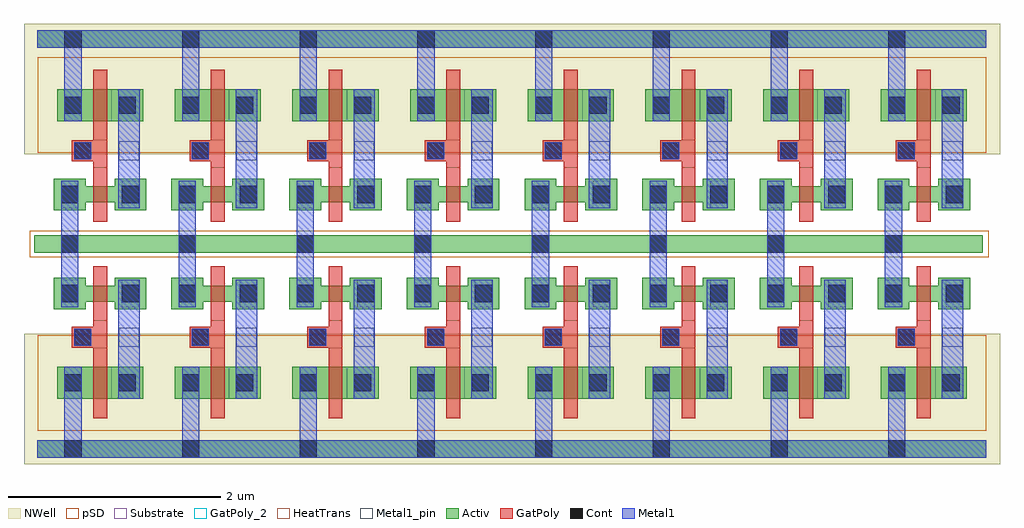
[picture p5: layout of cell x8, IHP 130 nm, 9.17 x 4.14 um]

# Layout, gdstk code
import gdstk
lib = gdstk.Library(unit=1e-6, precision=5e-09)
def R(c, l, rs):  # rectangles x0, y0, x1, y1
    for r in rs: c.add(gdstk.rectangle(r[:2], r[2:], *l))
Activ = (1, 0)
GatPoly = (5, 0)
GatPoly_2 = (5, 2)
Cont = (6, 0)
Metal1 = (8, 0)
Metal1_pin = (8, 2)
pSD = (14, 0)
NWell = (31, 0)
Substrate = (40, 0)
HeatTrans = (51, 0)

nmos_7 = lib.new_cell('nmos$7')
R(nmos_7, Activ, [(0,-0.05,0.3,0.25), (0.57,-0.05,0.87,0.25), (0,0.025,0.87,0.175)])
R(nmos_7, GatPoly, [(0.37,-0.155,0.5,0.355)])
R(nmos_7, GatPoly_2, [(0.37,-0.155,0.5,0.355)])
R(nmos_7, Cont, [(0.07,0.02,0.23,0.18), (0.64,0.02,0.8,0.18)])
R(nmos_7, Metal1, [(0.07,-0.03,0.23,0.23), (0.64,-0.03,0.8,0.23)])
R(nmos_7, Metal1_pin, [(0.07,-0.03,0.23,0.23), (0.64,-0.03,0.8,0.23)])
R(nmos_7, HeatTrans, [(0.37,-0.155,0.5,0.355)])
nmos_7.add(gdstk.Label('nmos', (0.435,0.1), layer=63, texttype=0))
nmos_7.add(gdstk.Label('nmos', (0.435,0.1), layer=51, texttype=0))

pmos_1_2 = lib.new_cell('pmos$1$2')
R(pmos_1_2, Activ, [(0,0,0.3,0.3), (0,0,0.81,0.3), (0.51,0,0.81,0.3)])
R(pmos_1_2, GatPoly, [(0.34,-0.18,0.47,0.48), (0.34,-0.18,0.47,0.48)])
R(pmos_1_2, Cont, [(0.07,0.07,0.23,0.23), (0.58,0.07,0.74,0.23)])
R(pmos_1_2, Metal1, [(0.07,0,0.23,0.3), (0.07,0,0.23,0.3), (0.58,0,0.74,0.3), (0.58,0,0.74,0.3)])
R(pmos_1_2, pSD, [(-0.18,-0.3,0.99,0.6)])
R(pmos_1_2, NWell, [(-0.31,-0.31,1.12,0.61)])
R(pmos_1_2, Substrate, [(0.51,0,0.81,0.3)])
R(pmos_1_2, HeatTrans, [(0.34,-0.18,0.47,0.48)])
pmos_1_2.add(gdstk.Label('pmos', (0.405,0.15), layer=63, texttype=0))
pmos_1_2.add(gdstk.Label('pmos', (0.405,0.15), layer=51, texttype=0))

inv_d1_2 = lib.new_cell('INV_D1$2')
R(inv_d1_2, Activ, [(-0.63,-1.05,0.545,-0.89), (-0.6,0.875,0.575,1.035)])
R(inv_d1_2, GatPoly, [(-0.075,-0.25,0.055,0.005), (-0.275,-0.195,-0.075,0.005)])
R(inv_d1_2, Cont, [(-0.375,-1.05,-0.215,-0.89), (-0.255,-0.175,-0.095,-0.015), (-0.345,0.875,-0.185,1.035)])
R(inv_d1_2, Metal1, [(-0.375,-1.05,-0.215,-0.635), (0.16,-0.635,0.36,0.485), (-0.255,-0.175,-0.095,-0.015), (-0.345,0.485,-0.185,1.035), (-0.6,0.875,0.575,1.035)])
R(inv_d1_2, Metal1_pin, [(-0.375,-1.05,-0.215,-0.89), (0.165,-0.185,0.355,-0.005), (-0.255,-0.175,-0.095,-0.015), (-0.345,0.875,-0.185,1.035)])
R(inv_d1_2, pSD, [(-0.67,-1.095,0.6,-0.845)])
R(inv_d1_2, NWell, [(-0.725,0.795,0.705,1.1)])
inv_d1_2.add(gdstk.Reference(nmos_7, (-0.445,-0.605)))
inv_d1_2.add(gdstk.Reference(pmos_1_2, (-0.415,0.185)))
inv_d1_2.add(gdstk.Label('VIN', (-0.145,-0.035), layer=8, texttype=2))
inv_d1_2.add(gdstk.Label('VSS', (-0.26,-0.915), layer=8, texttype=2))
inv_d1_2.add(gdstk.Label('VOUT', (0.305,-0.06), layer=8, texttype=2))

c_x8 = lib.new_cell('x8')
r = gdstk.Reference(inv_d1_2, (-3.785,1.725)); r.repetition = gdstk.Repetition(8, 1, v1=(1.105,0), v2=(0,0)); c_x8.add(r)
r = gdstk.Reference(inv_d1_2, (-3.785,-0.215), x_reflection=True); r.repetition = gdstk.Repetition(8, 1, v1=(1.105,0), v2=(0,0)); c_x8.add(r)

lib.write_gds('x8.gds')
